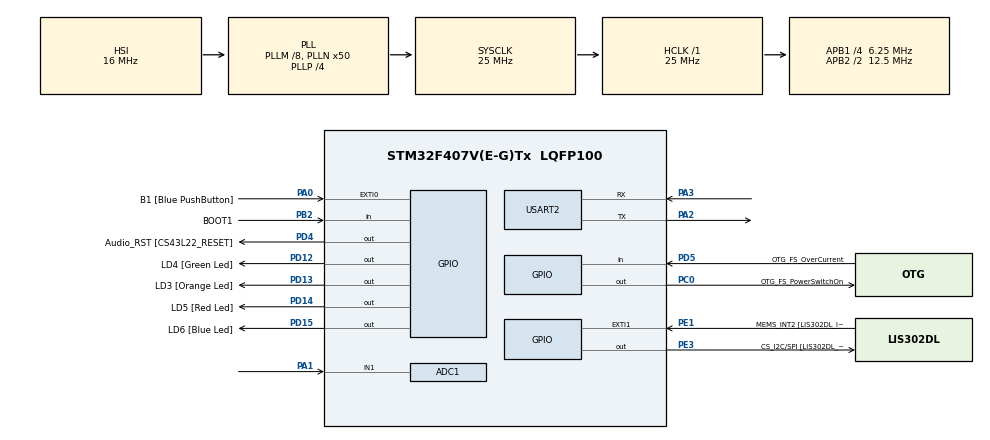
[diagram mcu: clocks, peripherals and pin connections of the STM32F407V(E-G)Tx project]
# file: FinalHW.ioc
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ADC1.Channel-0\#ChannelRegularConversion=ADC_CHANNEL_1
ADC1.NbrOfConversionFlag=1
ADC1.Rank-0\#ChannelRegularConversion=1
ADC1.SamplingTime-0\#ChannelRegularConversion=ADC_SAMPLETIME_3CYCLES
ADC1.master=1
Mcu.Family=STM32F4
Mcu.Name=STM32F407V(E-G)Tx
Mcu.Package=LQFP100
NVIC.ADC_IRQn=true\:0\:0\:false\:false\:true\:true
NVIC.PriorityGroup=NVIC_PRIORITYGROUP_0
PA0-WKUP.GPIO_Label=B1 [Blue PushButton]
PA0-WKUP.Signal=GPXTI0
PA1.Signal=ADCx_IN1
PA10.GPIO_Label=OTG_FS_ID
PA10.GPIO_Mode=GPIO_MODE_AF_PP
PA10.GPIO_PuPd=GPIO_NOPULL
PA10.GPIO_Speed=GPIO_SPEED_FREQ_LOW
PA10.Signal=USB_OTG_FS_ID
PA11.GPIO_Label=OTG_FS_DM
PA11.GPIO_Mode=GPIO_MODE_AF_PP
PA11.GPIO_PuPd=GPIO_NOPULL
PA11.GPIO_Speed=GPIO_SPEED_FREQ_LOW
PA11.Signal=USB_OTG_FS_DM
PA12.GPIO_Label=OTG_FS_DP
PA12.GPIO_Mode=GPIO_MODE_AF_PP
PA12.GPIO_PuPd=GPIO_NOPULL
PA12.GPIO_Speed=GPIO_SPEED_FREQ_LOW
PA12.Signal=USB_OTG_FS_DP
PA13.GPIO_Label=SWDIO
PA13.Signal=SYS_JTMS-SWDIO
PA14.GPIO_Label=SWCLK
PA14.Signal=SYS_JTCK-SWCLK
PA2.Mode=Asynchronous
PA2.Signal=USART2_TX
PA3.Mode=Asynchronous
PA3.Signal=USART2_RX
PA4.GPIO_Label=I2S3_WS [CS43L22_LRCK]
PA4.GPIO_Mode=GPIO_MODE_AF_PP
PA4.GPIO_PuPd=GPIO_NOPULL
PA4.GPIO_Speed=GPIO_SPEED_FREQ_LOW
PA4.Signal=I2S3_WS
PA5.GPIO_Label=SPI1_SCK [LIS302DL_SCL/SPC]
PA5.GPIO_Mode=GPIO_MODE_AF_PP
PA5.GPIO_PuPd=GPIO_NOPULL
PA5.GPIO_Speed=GPIO_SPEED_FREQ_LOW
PA5.Signal=SPI1_SCK
PA6.GPIO_Label=SPI1_MISO [LIS302DL_SDO]
PA6.GPIO_Mode=GPIO_MODE_AF_PP
PA6.GPIO_PuPd=GPIO_NOPULL
PA6.GPIO_Speed=GPIO_SPEED_FREQ_LOW
PA6.Signal=SPI1_MISO
PA7.GPIO_Label=SPI1_MOSI [LIS302DL_SDA/SDI/SDO]
PA7.GPIO_Mode=GPIO_MODE_AF_PP
PA7.GPIO_PuPd=GPIO_NOPULL
PA7.GPIO_Speed=GPIO_SPEED_FREQ_LOW
PA7.Signal=SPI1_MOSI
PA9.GPIO_Label=VBUS_FS
PA9.GPIO_Mode=GPIO_MODE_INPUT
PA9.GPIO_PuPd=GPIO_NOPULL
PA9.Signal=USB_OTG_FS_VBUS
PB10.GPIO_Label=CLK_IN [MP45DT02_CLK]
PB10.GPIO_Mode=GPIO_MODE_AF_PP
PB10.GPIO_PuPd=GPIO_NOPULL
PB10.GPIO_Speed=GPIO_SPEED_FREQ_LOW
PB10.Signal=I2S2_CK
PB2.GPIO_Label=BOOT1
PB2.GPIO_Mode=GPIO_MODE_INPUT
PB2.GPIO_PuPd=GPIO_NOPULL
PB2.Signal=GPIO_Input
PB3.GPIO_Label=SWO
PB3.Signal=SYS_JTDO-SWO
PB6.GPIO_Label=Audio_SCL [CS43L22_SCL]
PB6.GPIO_Mode=GPIO_MODE_AF_OD
PB6.GPIO_PuPd=GPIO_NOPULL
PB6.GPIO_Speed=GPIO_SPEED_FREQ_LOW
PB6.Signal=I2C1_SCL
PB9.GPIO_Label=Audio_SDA [CS43L22_SDA]
PB9.GPIO_Mode=GPIO_MODE_AF_OD
PB9.GPIO_PuPd=GPIO_NOPULL
PB9.GPIO_Speed=GPIO_SPEED_FREQ_LOW
PB9.Signal=I2C1_SDA
PC0.GPIO_Label=OTG_FS_PowerSwitchOn
PC0.GPIO_PuPd=GPIO_NOPULL
PC0.GPIO_Speed=GPIO_SPEED_FREQ_LOW
PC0.PinState=GPIO_PIN_SET
PC0.Signal=GPIO_Output
PC10.GPIO_Label=I2S3_SCK [CS43L22_SCLK]
PC10.GPIO_Mode=GPIO_MODE_AF_PP
PC10.GPIO_PuPd=GPIO_NOPULL
PC10.GPIO_Speed=GPIO_SPEED_FREQ_LOW
PC10.Signal=I2S3_CK
PC12.GPIO_Label=I2S3_SD [CS43L22_SDIN]
PC12.GPIO_Mode=GPIO_MODE_AF_PP
PC12.GPIO_PuPd=GPIO_NOPULL
PC12.GPIO_Speed=GPIO_SPEED_FREQ_LOW
PC12.Signal=I2S3_SD
PC14-OSC32_IN.GPIO_Label=PC14-OSC32_IN
PC14-OSC32_IN.Signal=RCC_OSC32_IN
PC15-OSC32_OUT.GPIO_Label=PC15-OSC32_OUT
PC15-OSC32_OUT.Signal=RCC_OSC32_OUT
PC3.GPIO_Label=PDM_OUT [MP45DT02_DOUT]
PC3.GPIO_Mode=GPIO_MODE_AF_PP
PC3.GPIO_PuPd=GPIO_NOPULL
PC3.GPIO_Speed=GPIO_SPEED_FREQ_LOW
PC3.Signal=I2S2_SD
PC7.GPIO_Label=I2S3_MCK [CS43L22_MCLK]
PC7.GPIO_Mode=GPIO_MODE_AF_PP
PC7.GPIO_PuPd=GPIO_NOPULL
PC7.GPIO_Speed=GPIO_SPEED_FREQ_LOW
PC7.Signal=I2S3_MCK
PD12.GPIO_Label=LD4 [Green Led]
PD12.GPIO_PuPd=GPIO_NOPULL
PD12.GPIO_Speed=GPIO_SPEED_FREQ_LOW
PD12.Signal=GPIO_Output
PD13.GPIO_Label=LD3 [Orange Led]
PD13.GPIO_PuPd=GPIO_NOPULL
PD13.GPIO_Speed=GPIO_SPEED_FREQ_LOW
PD13.Signal=GPIO_Output
PD14.GPIO_Label=LD5 [Red Led]
PD14.GPIO_PuPd=GPIO_NOPULL
PD14.GPIO_Speed=GPIO_SPEED_FREQ_LOW
PD14.Signal=GPIO_Output
PD15.GPIO_Label=LD6 [Blue Led]
PD15.GPIO_PuPd=GPIO_NOPULL
PD15.GPIO_Speed=GPIO_SPEED_FREQ_LOW
PD15.Signal=GPIO_Output
PD4.GPIO_Label=Audio_RST [CS43L22_RESET]
PD4.GPIO_PuPd=GPIO_NOPULL
PD4.GPIO_Speed=GPIO_SPEED_FREQ_LOW
PD4.Signal=GPIO_Output
PD5.GPIO_Label=OTG_FS_OverCurrent
PD5.GPIO_Mode=GPIO_MODE_INPUT
PD5.GPIO_PuPd=GPIO_NOPULL
PD5.Signal=GPIO_Input
PE1.GPIO_Label=MEMS_INT2 [LIS302DL_INT2]
PE1.GPIO_ModeDefaultEXTI=GPIO_MODE_EVT_RISING
PE1.GPIO_PuPd=GPIO_NOPULL
PE1.Signal=GPXTI1
PE3.GPIO_Label=CS_I2C/SPI [LIS302DL_CS_I2C/SPI]
PE3.GPIO_PuPd=GPIO_NOPULL
PE3.GPIO_Speed=GPIO_SPEED_FREQ_LOW
PE3.Signal=GPIO_Output
PH0-OSC_IN.GPIO_Label=PH0-OSC_IN
PH0-OSC_IN.Signal=RCC_OSC_IN
PH1-OSC_OUT.GPIO_Label=PH1-OSC_OUT
PH1-OSC_OUT.Signal=RCC_OSC_OUT
ProjectManager.HeapSize=0x200
ProjectManager.StackSize=0x400
ProjectManager.TargetToolchain=SW4STM32
RCC.48MHZClocksFreq_Value=14285714.285714285
RCC.AHBFreq_Value=25000000
RCC.APB1CLKDivider=RCC_HCLK_DIV4
RCC.APB1Freq_Value=6250000
RCC.APB1TimFreq_Value=12500000
RCC.APB2CLKDivider=RCC_HCLK_DIV2
RCC.APB2Freq_Value=12500000
RCC.APB2TimFreq_Value=25000000
RCC.CortexFreq_Value=25000000
RCC.HCLKFreq_Value=25000000
RCC.HSE_VALUE=8000000
RCC.HSI_VALUE=16000000
RCC.LSE_VALUE=32768
RCC.PLLM=8
RCC.PLLN=50
RCC.PLLP=RCC_PLLP_DIV4
RCC.PLLQ=7
RCC.SYSCLKFreq_VALUE=25000000
RCC.SYSCLKSource=RCC_SYSCLKSOURCE_PLLCLK
RCC.VCOOutputFreq_Value=100000000
SH.ADCx_IN1.0=ADC1_IN1,IN1
USART2.VirtualMode=VM_ASYNC
board=STM32F4DISCOVERY

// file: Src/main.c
/**
  ******************************************************************************
  * File Name          : main.c
  * Description        : Main program body
  ******************************************************************************
  ** This notice applies to any and all portions of this file
  * that are not between comment pairs USER CODE BEGIN and
  * USER CODE END. Other portions of this file, whether
  * inserted by the user or by software development tools
  * are owned by their respective copyright owners.
  *
  * COPYRIGHT(c) 2017 STMicroelectronics
  *
  * Redistribution and use in source and binary forms, with or without modification,
  * are permitted provided that the following conditions are met:
  *   1. Redistributions of source code must retain the above copyright notice,
  *      this list of conditions and the following disclaimer.
  *   2. Redistributions in binary form must reproduce the above copyright notice,
  *      this list of conditions and the following disclaimer in the documentation
  *      and/or other materials provided with the distribution.
  *   3. Neither the name of STMicroelectronics nor the names of its contributors
  *      may be used to endorse or promote products derived from this software
  *      without specific prior written permission.
  *
  * THIS SOFTWARE IS PROVIDED BY THE COPYRIGHT HOLDERS AND CONTRIBUTORS "AS IS"
  * AND ANY EXPRESS OR IMPLIED WARRANTIES, INCLUDING, BUT NOT LIMITED TO, THE
  * IMPLIED WARRANTIES OF MERCHANTABILITY AND FITNESS FOR A PARTICULAR PURPOSE ARE
  * DISCLAIMED. IN NO EVENT SHALL THE COPYRIGHT HOLDER OR CONTRIBUTORS BE LIABLE
  * FOR ANY DIRECT, INDIRECT, INCIDENTAL, SPECIAL, EXEMPLARY, OR CONSEQUENTIAL
  * DAMAGES (INCLUDING, BUT NOT LIMITED TO, PROCUREMENT OF SUBSTITUTE GOODS OR
  * SERVICES; LOSS OF USE, DATA, OR PROFITS; OR BUSINESS INTERRUPTION) HOWEVER
  * CAUSED AND ON ANY THEORY OF LIABILITY, WHETHER IN CONTRACT, STRICT LIABILITY,
  * OR TORT (INCLUDING NEGLIGENCE OR OTHERWISE) ARISING IN ANY WAY OUT OF THE USE
  * OF THIS SOFTWARE, EVEN IF ADVISED OF THE POSSIBILITY OF SUCH DAMAGE.
  *
  ******************************************************************************
  */
#include "main.h"
#include "stm32f4xx_hal.h"

ADC_HandleTypeDef hadc1;

UART_HandleTypeDef huart2;

/* USER CODE BEGIN PV */
/* Private variables ---------------------------------------------------------*/

/* USER CODE END PV */

void SystemClock_Config(void);
static void MX_GPIO_Init(void);
static void MX_ADC1_Init(void);
static void MX_USART2_UART_Init(void);

/* USER CODE BEGIN PFP */
/* Private function prototypes -----------------------------------------------*/

/* USER CODE END PFP */

/* USER CODE BEGIN 0 */
int tracking = 0;
uint32_t counting = 0;
int people;
int startInc = 0;
int endInc = 0;
uint8_t toSend2[3];
/* USER CODE END 0 */

int main(void)
{

  /* MCU Configuration----------------------------------------------------------*/

  /* Reset of all peripherals, Initializes the Flash interface and the Systick. */
  HAL_Init();

  /* Configure the system clock */
  SystemClock_Config();

  /* Initialize all configured peripherals */
  MX_GPIO_Init();
  MX_ADC1_Init();
  MX_USART2_UART_Init();

  /* USER CODE BEGIN 2 */
  int i,j;
  char toSend[100]; //Data
  uint32_t inc; //Receive IR data
  double temp; // temp to convert IR

  int validDist[3] = {0,0,0}; //3 value while tracking

  /* USER CODE END 2 */

  /* Infinite loop */
  /* USER CODE BEGIN WHILE */
  while (1)
  {
	  //IR value Handle/Calculate
	  HAL_ADC_Start(&hadc1);
	  inc = HAL_ADC_GetValue(&hadc1);
	  //temp = (4192.936*pow(inc,-0.935)-3.937); // Inches
	  //temp = 10650.08 * pow(inc,-0.935) - 10; //cm
	  if(inc > 3000) inc = 0;
	  else inc = (3400 -inc)/27;

	  if(inc >= 127) inc = 127;

	  // Tracking-Counting
	  if(inc > 0) {
		  if(inc <= 100) {
			  for(i = 0;i < 2;i++) validDist[i] = validDist[i+1];
			  validDist[2] = inc;
		  }

		  if(tracking == 0){
			  if(inc <= 100 ) {
				  counting++;
			  }
			  else if(inc >= 110) counting = 0;

			  if(counting >= 6) {
				  // Start tracking
				  startInc = (validDist[0] + validDist[1] + validDist[2])/3;
				  tracking = 1;
				  counting = 0;
				  HAL_GPIO_TogglePin(GPIOD,GPIO_PIN_12);

			  }
		  }

		  if(tracking == 1){
			  if(inc >= 110) counting ++;
			  else if(inc <= 100) counting = 0;
			  if(counting >= 10) {
				  // End tracking
				  endInc = (validDist[0] + validDist[1] + validDist[2])/3;

				  if(endInc > startInc) {
					  // Exit
					  people--;
					  if(people < 0) people = 0;
					  HAL_GPIO_TogglePin(GPIOD, GPIO_PIN_14);

					  sprintf(toSend,"EXIT (now %d)\r\n",people);
					  //HAL_UART_Transmit(&huart2,toSend,strlen(toSend),1000);

				  }
				  else {
					  // Enter
					  people++;
					  HAL_GPIO_TogglePin(GPIOD, GPIO_PIN_15);

					  sprintf(toSend,"ENTER (now %d)\r\n",people);
					  //HAL_UART_Transmit(&huart2,toSend,strlen(toSend),1000);
				  }

				  tracking = 0;
				  counting = 0;
				  HAL_GPIO_TogglePin(GPIOD,GPIO_PIN_12);
			  }
		  }
	  }

	  //Light bulb
	  if(people > 0) HAL_GPIO_WritePin(GPIOD, GPIO_PIN_13,GPIO_PIN_SET);
	  else HAL_GPIO_WritePin(GPIOD, GPIO_PIN_13,GPIO_PIN_RESET);

	  //To MCU via UART
	  //sprintf(toSend,"IN: %d\r\n", inc);
	  sprintf(toSend,"%c",people);
	  //sprintf(toSend,"%c%c",people,inc+128);

	  toSend2[0] = people;
	  toSend2[1] = inc+128;
	  toSend2[2] = 0;

	  if(HAL_UART_Transmit(&huart2,toSend2,2,1000) == HAL_OK){
		  //HAL_GPIO_TogglePin(GPIOD,GPIO_PIN_12);
	  }
	  //if(HAL_UART_Transmit(&huart2,toSend2,1,1000) == HAL_OK){}
	  HAL_Delay(50);
  /* USER CODE END WHILE */

  }

}

/** System Clock Configuration
*/
void SystemClock_Config(void)
{

  RCC_OscInitTypeDef RCC_OscInitStruct;
  RCC_ClkInitTypeDef RCC_ClkInitStruct;

    /**Configure the main internal regulator output voltage
    */
  __HAL_RCC_PWR_CLK_ENABLE();

  __HAL_PWR_VOLTAGESCALING_CONFIG(PWR_REGULATOR_VOLTAGE_SCALE1);

    /**Initializes the CPU, AHB and APB busses clocks
    */
  RCC_OscInitStruct.OscillatorType = RCC_OSCILLATORTYPE_HSI;
  RCC_OscInitStruct.HSIState = RCC_HSI_ON;
  RCC_OscInitStruct.HSICalibrationValue = 16;
  RCC_OscInitStruct.PLL.PLLState = RCC_PLL_ON;
  RCC_OscInitStruct.PLL.PLLSource = RCC_PLLSOURCE_HSI;
  RCC_OscInitStruct.PLL.PLLM = 8;
  RCC_OscInitStruct.PLL.PLLN = 50;
  RCC_OscInitStruct.PLL.PLLP = RCC_PLLP_DIV4;
  RCC_OscInitStruct.PLL.PLLQ = 7;
  if (HAL_RCC_OscConfig(&RCC_OscInitStruct) != HAL_OK)
  {
    _Error_Handler(__FILE__, __LINE__);
  }

    /**Initializes the CPU, AHB and APB busses clocks
    */
  RCC_ClkInitStruct.ClockType = RCC_CLOCKTYPE_HCLK|RCC_CLOCKTYPE_SYSCLK
                              |RCC_CLOCKTYPE_PCLK1|RCC_CLOCKTYPE_PCLK2;
  RCC_ClkInitStruct.SYSCLKSource = RCC_SYSCLKSOURCE_PLLCLK;
  RCC_ClkInitStruct.AHBCLKDivider = RCC_SYSCLK_DIV1;
  RCC_ClkInitStruct.APB1CLKDivider = RCC_HCLK_DIV4;
  RCC_ClkInitStruct.APB2CLKDivider = RCC_HCLK_DIV2;

  if (HAL_RCC_ClockConfig(&RCC_ClkInitStruct, FLASH_LATENCY_0) != HAL_OK)
  {
    _Error_Handler(__FILE__, __LINE__);
  }

    /**Configure the Systick interrupt time
    */
  HAL_SYSTICK_Config(HAL_RCC_GetHCLKFreq()/1000);

    /**Configure the Systick
    */
  HAL_SYSTICK_CLKSourceConfig(SYSTICK_CLKSOURCE_HCLK);

  /* SysTick_IRQn interrupt configuration */
  HAL_NVIC_SetPriority(SysTick_IRQn, 0, 0);
}

/* ADC1 init function */
static void MX_ADC1_Init(void)
{

  ADC_ChannelConfTypeDef sConfig;

    /**Configure the global features of the ADC (Clock, Resolution, Data Alignment and number of conversion)
    */
  hadc1.Instance = ADC1;
  hadc1.Init.ClockPrescaler = ADC_CLOCK_SYNC_PCLK_DIV2;
  hadc1.Init.Resolution = ADC_RESOLUTION_12B;
  hadc1.Init.ScanConvMode = DISABLE;
  hadc1.Init.ContinuousConvMode = DISABLE;
  hadc1.Init.DiscontinuousConvMode = DISABLE;
  hadc1.Init.ExternalTrigConvEdge = ADC_EXTERNALTRIGCONVEDGE_NONE;
  hadc1.Init.ExternalTrigConv = ADC_SOFTWARE_START;
  hadc1.Init.DataAlign = ADC_DATAALIGN_RIGHT;
  hadc1.Init.NbrOfConversion = 1;
  hadc1.Init.DMAContinuousRequests = DISABLE;
  hadc1.Init.EOCSelection = ADC_EOC_SINGLE_CONV;
  if (HAL_ADC_Init(&hadc1) != HAL_OK)
  {
    _Error_Handler(__FILE__, __LINE__);
  }

    /**Configure for the selected ADC regular channel its corresponding rank in the sequencer and its sample time.
    */
  sConfig.Channel = ADC_CHANNEL_1;
  sConfig.Rank = 1;
  sConfig.SamplingTime = ADC_SAMPLETIME_3CYCLES;
  if (HAL_ADC_ConfigChannel(&hadc1, &sConfig) != HAL_OK)
  {
    _Error_Handler(__FILE__, __LINE__);
  }

}

/* USART2 init function */
static void MX_USART2_UART_Init(void)
{

  huart2.Instance = USART2;
  huart2.Init.BaudRate = 115200;
  huart2.Init.WordLength = UART_WORDLENGTH_8B;
  huart2.Init.StopBits = UART_STOPBITS_1;
  huart2.Init.Parity = UART_PARITY_NONE;
  huart2.Init.Mode = UART_MODE_TX_RX;
  huart2.Init.HwFlowCtl = UART_HWCONTROL_NONE;
  huart2.Init.OverSampling = UART_OVERSAMPLING_16;
  if (HAL_UART_Init(&huart2) != HAL_OK)
  {
    _Error_Handler(__FILE__, __LINE__);
  }

}

/** Configure pins as
        * Analog
        * Input
        * Output
        * EVENT_OUT
        * EXTI
     PC3   ------> I2S2_SD
     PA4   ------> I2S3_WS
     PA5   ------> SPI1_SCK
     PA6   ------> SPI1_MISO
     PA7   ------> SPI1_MOSI
     PB10   ------> I2S2_CK
     PC7   ------> I2S3_MCK
     PA9   ------> USB_OTG_FS_VBUS
     PA10   ------> USB_OTG_FS_ID
     PA11   ------> USB_OTG_FS_DM
     PA12   ------> USB_OTG_FS_DP
     PC10   ------> I2S3_CK
     PC12   ------> I2S3_SD
     PB6   ------> I2C1_SCL
     PB9   ------> I2C1_SDA
*/
static void MX_GPIO_Init(void)
{

  GPIO_InitTypeDef GPIO_InitStruct;

  /* GPIO Ports Clock Enable */
  __HAL_RCC_GPIOE_CLK_ENABLE();
  __HAL_RCC_GPIOC_CLK_ENABLE();
  __HAL_RCC_GPIOH_CLK_ENABLE();
  __HAL_RCC_GPIOA_CLK_ENABLE();
  __HAL_RCC_GPIOB_CLK_ENABLE();
  __HAL_RCC_GPIOD_CLK_ENABLE();

  /*Configure GPIO pin Output Level */
  HAL_GPIO_WritePin(CS_I2C_SPI_GPIO_Port, CS_I2C_SPI_Pin, GPIO_PIN_RESET);

  /*Configure GPIO pin Output Level */
  HAL_GPIO_WritePin(OTG_FS_PowerSwitchOn_GPIO_Port, OTG_FS_PowerSwitchOn_Pin, GPIO_PIN_SET);

  /*Configure GPIO pin Output Level */
  HAL_GPIO_WritePin(GPIOD, LD4_Pin|LD3_Pin|LD5_Pin|LD6_Pin
                          |Audio_RST_Pin, GPIO_PIN_RESET);

  /*Configure GPIO pin : CS_I2C_SPI_Pin */
  GPIO_InitStruct.Pin = CS_I2C_SPI_Pin;
  GPIO_InitStruct.Mode = GPIO_MODE_OUTPUT_PP;
  GPIO_InitStruct.Pull = GPIO_NOPULL;
  GPIO_InitStruct.Speed = GPIO_SPEED_FREQ_LOW;
  HAL_GPIO_Init(CS_I2C_SPI_GPIO_Port, &GPIO_InitStruct);

  /*Configure GPIO pin : OTG_FS_PowerSwitchOn_Pin */
  GPIO_InitStruct.Pin = OTG_FS_PowerSwitchOn_Pin;
  GPIO_InitStruct.Mode = GPIO_MODE_OUTPUT_PP;
  GPIO_InitStruct.Pull = GPIO_NOPULL;
  GPIO_InitStruct.Speed = GPIO_SPEED_FREQ_LOW;
  HAL_GPIO_Init(OTG_FS_PowerSwitchOn_GPIO_Port, &GPIO_InitStruct);

  /*Configure GPIO pin : PDM_OUT_Pin */
  GPIO_InitStruct.Pin = PDM_OUT_Pin;
  GPIO_InitStruct.Mode = GPIO_MODE_AF_PP;
  GPIO_InitStruct.Pull = GPIO_NOPULL;
  GPIO_InitStruct.Speed = GPIO_SPEED_FREQ_LOW;
  GPIO_InitStruct.Alternate = GPIO_AF5_SPI2;
  HAL_GPIO_Init(PDM_OUT_GPIO_Port, &GPIO_InitStruct);

  /*Configure GPIO pin : B1_Pin */
  GPIO_InitStruct.Pin = B1_Pin;
  GPIO_InitStruct.Mode = GPIO_MODE_IT_RISING;
  GPIO_InitStruct.Pull = GPIO_NOPULL;
  HAL_GPIO_Init(B1_GPIO_Port, &GPIO_InitStruct);

  /*Configure GPIO pin : I2S3_WS_Pin */
  GPIO_InitStruct.Pin = I2S3_WS_Pin;
  GPIO_InitStruct.Mode = GPIO_MODE_AF_PP;
  GPIO_InitStruct.Pull = GPIO_NOPULL;
  GPIO_InitStruct.Speed = GPIO_SPEED_FREQ_LOW;
  GPIO_InitStruct.Alternate = GPIO_AF6_SPI3;
  HAL_GPIO_Init(I2S3_WS_GPIO_Port, &GPIO_InitStruct);

  /*Configure GPIO pins : SPI1_SCK_Pin SPI1_MISO_Pin SPI1_MOSI_Pin */
  GPIO_InitStruct.Pin = SPI1_SCK_Pin|SPI1_MISO_Pin|SPI1_MOSI_Pin;
  GPIO_InitStruct.Mode = GPIO_MODE_AF_PP;
  GPIO_InitStruct.Pull = GPIO_NOPULL;
  GPIO_InitStruct.Speed = GPIO_SPEED_FREQ_LOW;
  GPIO_InitStruct.Alternate = GPIO_AF5_SPI1;
  HAL_GPIO_Init(GPIOA, &GPIO_InitStruct);

  /*Configure GPIO pin : BOOT1_Pin */
  GPIO_InitStruct.Pin = BOOT1_Pin;
  GPIO_InitStruct.Mode = GPIO_MODE_INPUT;
  GPIO_InitStruct.Pull = GPIO_NOPULL;
  HAL_GPIO_Init(BOOT1_GPIO_Port, &GPIO_InitStruct);

  /*Configure GPIO pin : CLK_IN_Pin */
  GPIO_InitStruct.Pin = CLK_IN_Pin;
  GPIO_InitStruct.Mode = GPIO_MODE_AF_PP;
  GPIO_InitStruct.Pull = GPIO_NOPULL;
  GPIO_InitStruct.Speed = GPIO_SPEED_FREQ_LOW;
  GPIO_InitStruct.Alternate = GPIO_AF5_SPI2;
  HAL_GPIO_Init(CLK_IN_GPIO_Port, &GPIO_InitStruct);

  /*Configure GPIO pins : LD4_Pin LD3_Pin LD5_Pin LD6_Pin
                           Audio_RST_Pin */
  GPIO_InitStruct.Pin = LD4_Pin|LD3_Pin|LD5_Pin|LD6_Pin
                          |Audio_RST_Pin;
  GPIO_InitStruct.Mode = GPIO_MODE_OUTPUT_PP;
  GPIO_InitStruct.Pull = GPIO_NOPULL;
  GPIO_InitStruct.Speed = GPIO_SPEED_FREQ_LOW;
  HAL_GPIO_Init(GPIOD, &GPIO_InitStruct);

  /*Configure GPIO pins : I2S3_MCK_Pin I2S3_SCK_Pin I2S3_SD_Pin */
  GPIO_InitStruct.Pin = I2S3_MCK_Pin|I2S3_SCK_Pin|I2S3_SD_Pin;
  GPIO_InitStruct.Mode = GPIO_MODE_AF_PP;
  GPIO_InitStruct.Pull = GPIO_NOPULL;
  GPIO_InitStruct.Speed = GPIO_SPEED_FREQ_LOW;
  GPIO_InitStruct.Alternate = GPIO_AF6_SPI3;
  HAL_GPIO_Init(GPIOC, &GPIO_InitStruct);

  /*Configure GPIO pin : VBUS_FS_Pin */
  GPIO_InitStruct.Pin = VBUS_FS_Pin;
  GPIO_InitStruct.Mode = GPIO_MODE_INPUT;
  GPIO_InitStruct.Pull = GPIO_NOPULL;
  HAL_GPIO_Init(VBUS_FS_GPIO_Port, &GPIO_InitStruct);

  /*Configure GPIO pins : OTG_FS_ID_Pin OTG_FS_DM_Pin OTG_FS_DP_Pin */
  GPIO_InitStruct.Pin = OTG_FS_ID_Pin|OTG_FS_DM_Pin|OTG_FS_DP_Pin;
  GPIO_InitStruct.Mode = GPIO_MODE_AF_PP;
  GPIO_InitStruct.Pull = GPIO_NOPULL;
  GPIO_InitStruct.Speed = GPIO_SPEED_FREQ_LOW;
  GPIO_InitStruct.Alternate = GPIO_AF10_OTG_FS;
  HAL_GPIO_Init(GPIOA, &GPIO_InitStruct);

  /*Configure GPIO pin : OTG_FS_OverCurrent_Pin */
  GPIO_InitStruct.Pin = OTG_FS_OverCurrent_Pin;
  GPIO_InitStruct.Mode = GPIO_MODE_INPUT;
  GPIO_InitStruct.Pull = GPIO_NOPULL;
  HAL_GPIO_Init(OTG_FS_OverCurrent_GPIO_Port, &GPIO_InitStruct);

  /*Configure GPIO pins : Audio_SCL_Pin Audio_SDA_Pin */
  GPIO_InitStruct.Pin = Audio_SCL_Pin|Audio_SDA_Pin;
  GPIO_InitStruct.Mode = GPIO_MODE_AF_OD;
  GPIO_InitStruct.Pull = GPIO_PULLUP;
  GPIO_InitStruct.Speed = GPIO_SPEED_FREQ_LOW;
  GPIO_InitStruct.Alternate = GPIO_AF4_I2C1;
  HAL_GPIO_Init(GPIOB, &GPIO_InitStruct);

  /*Configure GPIO pin : MEMS_INT2_Pin */
  GPIO_InitStruct.Pin = MEMS_INT2_Pin;
  GPIO_InitStruct.Mode = GPIO_MODE_EVT_RISING;
  GPIO_InitStruct.Pull = GPIO_NOPULL;
  HAL_GPIO_Init(MEMS_INT2_GPIO_Port, &GPIO_InitStruct);

}

void _Error_Handler(char * file, int line)
{
  while(1)
  {
  }
}

/************************ (C) COPYRIGHT STMicroelectronics *****END OF FILE****/
